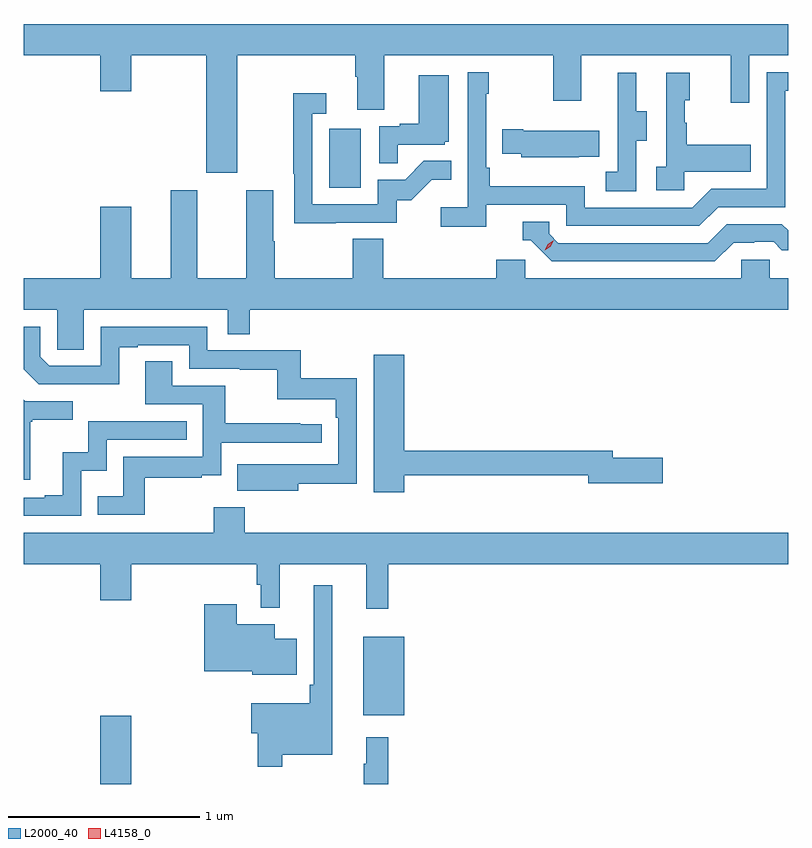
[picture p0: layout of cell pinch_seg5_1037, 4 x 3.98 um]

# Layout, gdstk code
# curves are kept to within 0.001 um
import gdstk
lib = gdstk.Library(unit=1e-6, precision=1e-09)
def R(c, l, rs):  # rectangles x0, y0, x1, y1
    for r in rs: c.add(gdstk.rectangle(r[:2], r[2:], *l))
def P(c, l, *ps):  # polygons
    for p in ps: c.add(gdstk.Polygon(p, *l))
L2000_40 = (2000, 40)
L4158_0 = (4158, 0)

pinch_seg5_1037 = lib.new_cell('pinch_seg5_1037')
R(pinch_seg5_1037, L2000_40, [(836.336,858.274,836.5,858.631), (837.713,858.635,837.928,859.045), (837.536,861.396,837.7,861.703)])
P(pinch_seg5_1037, L2000_40, [(837.055,862.088),(837.671,862.088),(837.671,861.976),(837.683,861.976),(837.683,861.802),(837.823,861.802),(837.823,862.088),(838.708,862.088),(838.708,861.849),(838.855,861.849),(838.855,862.088),(839.636,862.088),(839.636,861.84),(839.733,861.84),(839.733,862.088),(839.937,862.088),(839.937,862.252),(835.937,862.252),(835.937,862.088),(836.336,862.088),(836.336,861.9),(836.5,861.9),(836.5,862.088),(836.891,862.088),(836.891,861.474),(837.055,861.474)],
  [(838.358,861.306),(838.776,861.306),(838.776,861.195),(839.473,861.195),(839.572,861.294),(839.922,861.294),(839.922,861.903),(839.937,861.903),(839.937,861.999),(839.826,861.999),(839.826,861.39),(839.535,861.39),(839.436,861.291),(838.872,861.291),(838.872,861.403),(838.376,861.403),(838.376,861.499),(838.356,861.499),(838.356,861.887),(838.369,861.887),(838.369,862),(838.26,862),(838.26,861.292),(838.119,861.292),(838.119,861.19),(838.358,861.19)],
  [(839.142,861.64),(839.197,861.64),(839.197,861.795),(839.143,861.795),(839.143,861.997),(839.045,861.997),(839.045,861.783),(839.046,861.783),(839.046,861.479),(838.983,861.479),(838.983,861.376),(839.142,861.376)],
  [(839.394,861.479),(839.741,861.479),(839.741,861.619),(839.407,861.619),(839.407,861.734),(839.397,861.734),(839.397,861.852),(839.422,861.852),(839.422,861.997),(839.298,861.997),(839.298,861.506),(839.247,861.506),(839.247,861.381),(839.394,861.381)],
  [(837.893,861.621),(838.14,861.621),(838.14,861.636),(838.162,861.636),(838.162,861.985),(838.004,861.985),(838.004,861.73),(837.905,861.73),(837.905,861.717),(837.798,861.717),(837.798,861.523),(837.893,861.523)],
  [(837.569,861.213),(837.888,861.213),(837.888,861.33),(837.964,861.33),(838.071,861.437),(838.175,861.437),(838.175,861.536),(838.031,861.536),(837.933,861.438),(837.789,861.438),(837.789,861.309),(837.447,861.309),(837.447,861.783),(837.52,861.783),(837.52,861.889),(837.346,861.889),(837.346,861.469),(837.351,861.469),(837.351,861.208),(837.569,861.208)],
  [(838.841,861.557),(838.949,861.557),(838.949,861.694),(838.552,861.694),(838.552,861.702),(838.441,861.702),(838.441,861.572),(838.539,861.572),(838.539,861.554),(838.841,861.554)],
  [(836.251,860.756),(837.003,860.756),(837.003,860.629),(837.119,860.629),(837.119,860.756),(839.937,860.756),(839.937,860.92),(839.841,860.92),(839.841,861.018),(839.691,861.018),(839.691,860.92),(838.56,860.92),(838.56,861.018),(838.409,861.018),(838.409,860.92),(837.818,860.92),(837.818,861.128),(837.658,861.128),(837.658,860.92),(837.249,860.92),(837.249,861.116),(837.241,861.116),(837.241,861.382),(837.101,861.382),(837.101,860.92),(836.845,860.92),(836.845,861.382),(836.705,861.382),(836.705,860.92),(836.5,860.92),(836.5,861.295),(836.336,861.295),(836.336,860.92),(835.937,860.92),(835.937,860.756),(836.112,860.756),(836.112,860.548),(836.251,860.548)],
  [(839.653,861.108),(839.76,861.108),(839.76,861.111),(839.863,861.111),(839.905,861.069),(839.937,861.069),(839.937,861.172),(839.905,861.204),(839.616,861.204),(839.517,861.105),(838.734,861.105),(838.686,861.153),(838.686,861.216),(838.547,861.216),(838.547,861.12),(838.59,861.12),(838.701,861.009),(839.554,861.009)],
  [(837.373,859.846),(837.678,859.846),(837.678,860.398),(837.385,860.398),(837.385,860.544),(836.898,860.544),(836.898,860.667),(836.34,860.667),(836.34,860.463),(836.07,860.463),(836.022,860.511),(836.022,860.667),(835.937,860.667),(835.937,860.446),(836.016,860.367),(836.437,860.366),(836.437,860.559),(836.533,860.559),(836.533,860.571),(836.802,860.571),(836.802,860.448),(837.067,860.448),(837.067,860.443),(837.264,860.443),(837.264,860.288),(837.569,860.288),(837.569,860.192),(837.582,860.192),(837.582,859.947),(837.055,859.948),(837.055,859.808),(837.373,859.808)],
  [(837.928,859.89),(838.892,859.89),(838.892,859.847),(839.281,859.847),(839.281,859.982),(839.02,859.982),(839.02,860.018),(837.928,860.018),(837.928,860.521),(837.767,860.521),(837.767,859.8),(837.928,859.8)],
  [(836.569,859.878),(836.867,859.878),(836.867,859.889),(836.97,859.889),(836.97,860.061),(837.496,860.061),(837.496,860.157),(837.383,860.157),(837.383,860.162),(836.99,860.162),(836.99,860.358),(836.713,860.358),(836.713,860.486),(836.573,860.486),(836.573,860.262),(836.874,860.262),(836.874,859.986),(836.458,859.986),(836.458,859.78),(836.323,859.78),(836.323,859.683),(836.569,859.683)],
  [(835.969,860.169),(835.981,860.169),(835.981,860.18),(836.194,860.18),(836.194,860.277),(835.944,860.277),(835.937,860.284),(835.937,859.866),(835.969,859.866)],
  [(836.238,859.913),(836.37,859.913),(836.37,860.076),(836.789,860.076),(836.789,860.172),(836.274,860.172),(836.274,860.011),(836.141,860.011),(836.141,859.786),(836.045,859.786),(836.045,859.773),(835.937,859.773),(835.937,859.677),(836.238,859.677)],
  [(837.845,859.424),(839.937,859.424),(839.937,859.588),(837.092,859.588),(837.092,859.723),(836.932,859.723),(836.932,859.588),(835.937,859.588),(835.937,859.424),(836.336,859.424),(836.336,859.236),(836.5,859.236),(836.5,859.424),(837.157,859.424),(837.157,859.317),(837.177,859.317),(837.177,859.196),(837.275,859.196),(837.275,859.424),(837.728,859.424),(837.728,859.191),(837.845,859.191)],
  [(837.289,858.428),(837.55,858.428),(837.55,859.315),(837.453,859.315),(837.453,858.793),(837.433,858.793),(837.433,858.697),(837.126,858.697),(837.126,858.539),(837.16,858.539),(837.16,858.363),(837.289,858.363)],
  [(837.364,859.033),(837.25,859.033),(837.25,859.111),(837.052,859.111),(837.052,859.216),(836.882,859.216),(836.882,858.863),(837.132,858.863),(837.132,858.845),(837.364,858.845)],
  [(837.845,858.52),(837.728,858.52),(837.728,858.38),(837.717,858.38),(837.717,858.274),(837.845,858.274)])
P(pinch_seg5_1037, L4158_0, [(838.662,861.067),(838.662,861.068),(838.679,861.1),(838.71,861.119),(838.71,861.119),(838.71,861.119),(838.693,861.086),(838.663,861.067)])

lib.write_gds('pinch_seg5_1037.gds')
